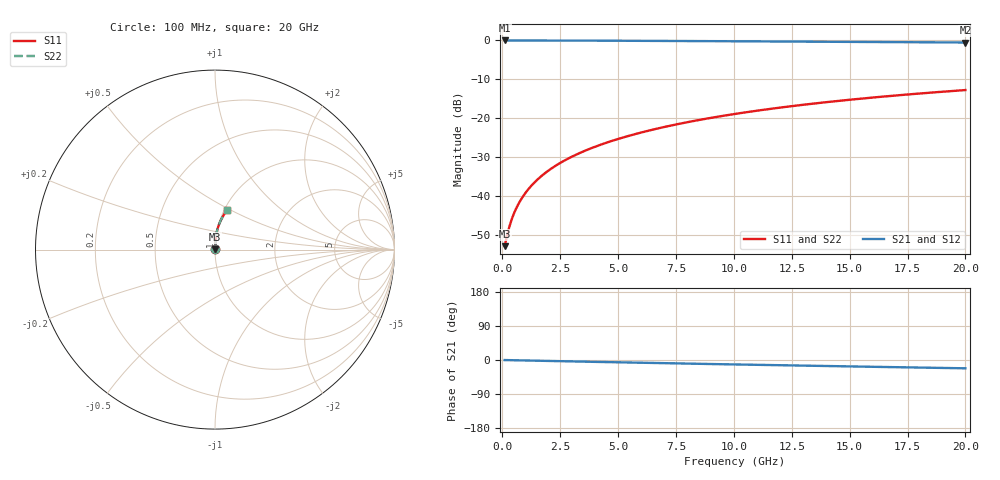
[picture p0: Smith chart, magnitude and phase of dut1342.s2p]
! Touchstone file exported from HFSS 2024.1.0
!  File:  C:/UserFiles/LocalFiles/RDL_TSV_Batchsim/temp_RDL_bottom_1342_1780369852.aedt
!  Generated:  11:13:51 AM Jun  2, 2026
!  Design:  RDL_bottom
!  Project:  temp_RDL_bottom_1342_1780369852
!  Setup:  Setup1
!  Solution:  Sweep
! Variables:
!  dtsv = 10.80580581um
!  hbump = 3um
!  htsv = 93.13um
!  ldown = 286.54um
!  lrdl = 100um
!  p = 40
!  p1 = 44.35um
!  rhole = 1um
!  t = 450um
!  tdown = 2.98um
!  trdl = 3.915915916um
!  wdown = 19.97um
!  wrdl = 20um
# GHz S MA R 50.000000
! Terminal data exported
! Port[1] = RDL1_T1
! Port[2] = RDL1_T2
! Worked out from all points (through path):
!   200 points, 100 MHz to 20 GHz, reference 50 ohm
!   highest |S21| = -0.02 dB at 100 MHz (marker M1); lowest = -0.5 dB at 20 GHz (marker M2)
!   group delay of S21, straight-line fit = 3.02 ps
!   lowest |S11| = -52.9 dB at 100 MHz (marker M3), VSWR 1.00, Z = 50.2 + j0.116 ohm
!   |S11| at or under -10 dB: start of sweep to end of sweep
!   |S22| runs from -52.9 to -12.8 dB; largest |S21 - S12| = 3.9e-15
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0.1  0.002265 30.7  0.998 -0.1  0.998 -0.1  0.002265 30.7
! Gamma 0 0 0 0
! Port Impedance 50 0 50 0
0.2  0.003042 48.7  0.998 -0.3  0.998 -0.3  0.003042 48.7
0.3  0.003972 58.4  0.9979 -0.4  0.9979 -0.4  0.003972 58.4
0.4  0.004945 64.2  0.9978 -0.5  0.9978 -0.5  0.004945 64.2
0.5  0.005932 68.1  0.9977 -0.6  0.9977 -0.6  0.005932 68.1
0.6  0.006924 70.9  0.9976 -0.8  0.9976 -0.8  0.006924 70.9
0.8  0.008923 74.8  0.9974 -1.0  0.9974 -1.0  0.008923 74.8
1.1  0.01196 78.4  0.9972 -1.4  0.9972 -1.4  0.01196 78.4
1.3  0.01401 80.0  0.997 -1.6  0.997 -1.6  0.01401 80.0
1.6  0.01711 81.7  0.9967 -2.0  0.9967 -2.0  0.01711 81.7
2.1  0.02235 83.5  0.9961 -2.6  0.9961 -2.6  0.02235 83.5
2.7  0.02872 84.7  0.9951 -3.3  0.9951 -3.3  0.02872 84.7
3.5  0.03738 85.6  0.9936 -4.3  0.9936 -4.3  0.03738 85.6
4.2  0.04509 86.0  0.992 -5.2  0.992 -5.2  0.04509 86.0
5  0.05406 86.1  0.99 -6.1  0.99 -6.1  0.05406 86.1
5.9  0.06434 86.0  0.9875 -7.1  0.9875 -7.1  0.06434 86.0
6.8  0.07479 85.6  0.9848 -8.2  0.9848 -8.2  0.07479 85.6
8.4  0.09369 84.6  0.9797 -10.0  0.9797 -10.0  0.09369 84.6
10.1  0.114 83.2  0.9741 -11.8  0.9741 -11.8  0.114 83.2
13.4  0.1536 79.9  0.9628 -15.3  0.9628 -15.3  0.1536 79.9
16.7  0.1924 76.4  0.9512 -18.6  0.9512 -18.6  0.1924 76.4
20  0.2299 72.9  0.9393 -21.9  0.9393 -21.9  0.2299 72.9
